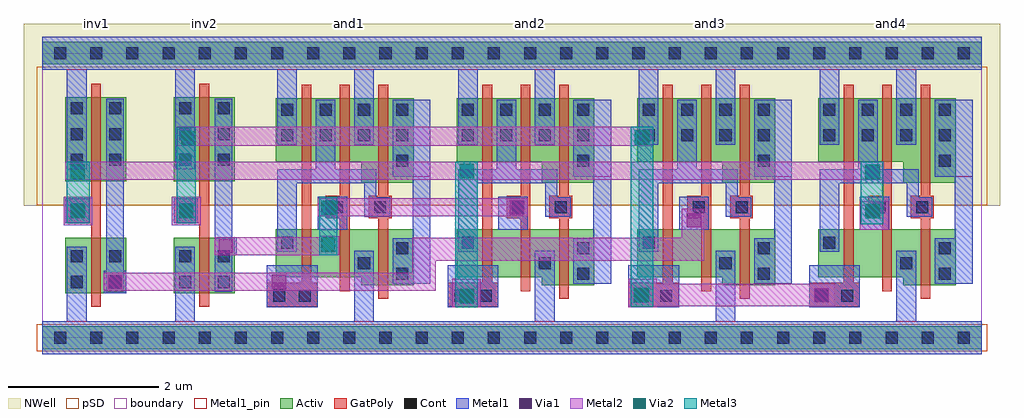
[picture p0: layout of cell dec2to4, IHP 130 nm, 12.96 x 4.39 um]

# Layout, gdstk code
import gdstk
lib = gdstk.Library(unit=1e-6, precision=1e-09)
def R(c, l, rs):  # rectangles x0, y0, x1, y1
    for r in rs: c.add(gdstk.rectangle(r[:2], r[2:], *l))
def A(c, l, x, y, w, h, nx, ny, dx, dy):  # array of equal rectangles
    R(c, l, [(x+i*dx, y+j*dy, x+i*dx+w, y+j*dy+h) for i in range(nx) for j in range(ny)])
def P(c, l, *ps):  # polygons
    for p in ps: c.add(gdstk.Polygon(p, *l))
Activ = (1, 0)
GatPoly = (5, 0)
Cont = (6, 0)
Metal1 = (8, 0)
Metal1_pin = (8, 2)
Metal2 = (10, 0)
pSD = (14, 0)
Via1 = (19, 0)
Via2 = (29, 0)
Metal3 = (30, 0)
NWell = (31, 0)
boundary = (189, 4)

sg13cmos5l_inv_1 = lib.new_cell('sg13cmos5l_inv_1')
R(sg13cmos5l_inv_1, Activ, [(0,-0.15,1.44,0.15), (0.31,0.59,1.12,1.33), (0.31,2.075,1.12,3.195), (0,3.63,1.44,3.93)])
P(sg13cmos5l_inv_1, GatPoly, [(0.65,0.41),(0.65,1.52),(0.31,1.52),(0.31,1.85),(0.65,1.85),(0.65,3.375),(0.78,3.375),(0.78,0.41)])
A(sg13cmos5l_inv_1, Cont, 0.38, 2.285, 0.16, 0.16, 1, 3, 0, 0.34)
A(sg13cmos5l_inv_1, Cont, 0.89, 2.285, 0.16, 0.16, 1, 3, 0, 0.34)
R(sg13cmos5l_inv_1, Cont, [(0.16,-0.08,0.32,0.08), (0.16,-0.08,0.32,0.08), (0.64,-0.08,0.8,0.08), (0.64,-0.08,0.8,0.08), (1.12,-0.08,1.28,0.08), (1.12,-0.08,1.28,0.08), (0.38,0.66,0.54,0.82), (0.89,0.66,1.05,0.82), (0.38,1,0.54,1.16), (0.89,1,1.05,1.16), (0.395,1.605,0.555,1.765), (0.16,3.7,0.32,3.86), (0.16,3.7,0.32,3.86), (0.64,3.7,0.8,3.86), (0.64,3.7,0.8,3.86), (1.12,3.7,1.28,3.86), (1.12,3.7,1.28,3.86)])
R(sg13cmos5l_inv_1, Metal1, [(0.855,0.61,1.085,3.175), (0.31,1.52,0.625,1.85)])
P(sg13cmos5l_inv_1, Metal1, [(0.33,2.235),(0.33,3.56),(0,3.56),(0,4),(1.44,4),(1.44,3.56),(0.59,3.56),(0.59,2.235)],
  [(0,-0.22),(0,0.22),(0.33,0.22),(0.33,1.21),(0.59,1.21),(0.59,0.22),(1.44,0.22),(1.44,-0.22)])
R(sg13cmos5l_inv_1, Metal1_pin, [(0,-0.22,1.44,0.22), (0.855,0.61,1.085,3.175), (0.31,1.52,0.625,1.85), (0,3.56,1.44,4)])
R(sg13cmos5l_inv_1, pSD, [(-0.07,-0.18,1.51,0.18), (-0.07,1.76,1.51,3.6)])
R(sg13cmos5l_inv_1, NWell, [(-0.24,1.75,1.68,4.17)])
R(sg13cmos5l_inv_1, boundary, [(0,0,1.44,3.78)])
sg13cmos5l_inv_1.add(gdstk.Label('Y', (0.98,1.69), layer=8, texttype=25))
sg13cmos5l_inv_1.add(gdstk.Label('A', (0.48,1.68), layer=8, texttype=25))
sg13cmos5l_inv_1.add(gdstk.Label('VSS', (0.72,-0.02), layer=8, texttype=25))
sg13cmos5l_inv_1.add(gdstk.Label('VDD', (0.705,3.78), layer=8, texttype=25))

sg13cmos5l_and2_1 = lib.new_cell('sg13cmos5l_and2_1')
R(sg13cmos5l_and2_1, Activ, [(0,-0.15,2.4,0.15), (0,3.63,2.4,3.93)])
P(sg13cmos5l_and2_1, Activ, [(1.355,0.7),(1.355,0.8),(0.225,0.8),(0.225,1.44),(2.055,1.44),(2.055,0.7)],
  [(1.355,2.06),(1.355,2.34),(0.225,2.34),(0.225,3.18),(2.055,3.18),(2.055,2.06)])
P(sg13cmos5l_and2_1, GatPoly, [(1.585,0.52),(1.585,1.585),(1.455,1.585),(1.455,1.885),(1.585,1.885),(1.585,3.36),(1.715,3.36),(1.715,1.885),(1.76,1.885),(1.76,1.585),(1.715,1.585),(1.715,0.52)],
  [(0.105,0.41),(0.105,0.73),(0.565,0.73),(0.565,3.36),(0.695,3.36),(0.695,0.73),(0.775,0.73),(0.775,0.41)],
  [(1.075,0.62),(1.075,1.585),(0.89,1.585),(0.89,1.885),(1.075,1.885),(1.075,3.36),(1.205,3.36),(1.205,0.62)])
A(sg13cmos5l_and2_1, Cont, 0.16, -0.08, 0.16, 0.16, 5, 1, 0.48, 0)
A(sg13cmos5l_and2_1, Cont, 0.295, 2.61, 0.16, 0.16, 4, 2, 0.51, 0.34)
R(sg13cmos5l_and2_1, Cont, [(0.19,0.48,0.35,0.64), (0.53,0.48,0.69,0.64), (1.825,0.77,1.985,0.93), (1.315,0.91,1.475,1.07), (1.825,1.11,1.985,1.27), (0.295,1.18,0.455,1.34), (0.96,1.655,1.12,1.815), (1.53,1.655,1.69,1.815), (1.825,2.27,1.985,2.43), (0.16,3.7,0.32,3.86), (0.16,3.7,0.32,3.86), (0.16,3.7,0.32,3.86), (0.64,3.7,0.8,3.86), (0.64,3.7,0.8,3.86), (1.12,3.7,1.28,3.86), (1.12,3.7,1.28,3.86), (1.6,3.7,1.76,3.86), (1.6,3.7,1.76,3.86), (2.08,3.7,2.24,3.86), (2.08,3.7,2.24,3.86)])
R(sg13cmos5l_and2_1, Metal1, [(0.105,0.405,0.78,0.96), (0.78,1.435,1.17,1.87)])
P(sg13cmos5l_and2_1, Metal1, [(0.245,1.14),(0.245,2.24),(0.755,2.24),(0.755,3.16),(1.015,3.16),(1.015,2.24),(1.56,2.24),(1.56,1.865),(1.74,1.865),(1.74,1.605),(1.4,1.605),(1.4,2.05),(0.505,2.05),(0.505,1.14)],
  [(1.775,0.72),(1.775,1.32),(2.04,1.32),(2.04,2.14),(1.775,2.14),(1.775,3.16),(2.275,3.16),(2.275,0.72)],
  [(0.245,2.56),(0.245,3.56),(0,3.56),(0,4),(2.4,4),(2.4,3.56),(1.525,3.56),(1.525,2.56),(1.265,2.56),(1.265,3.56),(0.505,3.56),(0.505,2.56)],
  [(0,-0.22),(0,0.22),(1.265,0.22),(1.265,1.155),(1.525,1.155),(1.525,0.22),(2.4,0.22),(2.4,-0.22)])
R(sg13cmos5l_and2_1, Metal1_pin, [(0,-0.22,2.4,0.22), (0.105,0.405,0.78,0.96), (0.78,1.435,1.17,1.87), (1.775,2.14,2.275,3.16), (0,3.56,2.4,4)])
R(sg13cmos5l_and2_1, pSD, [(-0.07,-0.18,2.47,0.18), (-0.07,1.76,0.55,3.6), (-0.07,1.76,2.47,3.6)])
R(sg13cmos5l_and2_1, NWell, [(-0.24,1.75,2.64,4.17)])
R(sg13cmos5l_and2_1, boundary, [(0,0,2.4,3.78)])
sg13cmos5l_and2_1.add(gdstk.Label('X', (1.995,2.68), layer=8, texttype=25))
sg13cmos5l_and2_1.add(gdstk.Label('VSS', (1.18,0), layer=8, texttype=25))
sg13cmos5l_and2_1.add(gdstk.Label('VDD', (1.275,3.78), layer=8, texttype=25))
sg13cmos5l_and2_1.add(gdstk.Label('B', (0.98,1.655), layer=8, texttype=25))
sg13cmos5l_and2_1.add(gdstk.Label('A', (0.465,0.745), layer=8, texttype=25))

dec2to4 = lib.new_cell('dec2to4')
R(dec2to4, Metal1, [(0.82,0.59,1.12,0.89), (2.525,1.095,2.585,1.335)])
R(dec2to4, Metal2, [(5.445,0.405,5.825,0.785), (7.785,0.405,8.165,0.785), (4.915,0.865,5.225,1.025), (10.86,1.435,11.24,1.815), (0.285,1.495,0.665,1.875), (1.725,1.495,2.105,1.875), (3.705,1.63,3.895,1.82)])
P(dec2to4, Metal2, [(2.295,1.095),(2.295,1.335),(3.68,1.335),(3.68,1.345),(3.945,1.345),(3.945,1.095)],
  [(0.625,1.545),(0.625,1.545),(0.625,1.545),(0.625,1.545)],
  [(10.31,1.84),(10.31,1.84),(10.31,1.84),(10.31,1.84)])
R(dec2to4, Via1, [(5.545,0.455,5.735,0.645), (7.865,0.47,8.055,0.66), (10.255,0.47,10.445,0.66), (0.875,0.645,1.065,0.835), (3.05,0.645,3.24,0.835), (2.345,1.12,2.535,1.31), (8.56,1.465,8.75,1.655), (10.93,1.585,11.12,1.775), (0.38,1.59,0.57,1.78), (1.82,1.59,2.01,1.78), (6.21,1.635,6.4,1.825)])
R(dec2to4, Via2, [(5.545,0.455,5.735,0.645), (7.865,0.47,8.055,0.66), (3.705,1.145,3.895,1.335), (10.93,1.585,11.12,1.775), (0.38,1.59,0.57,1.78), (1.82,1.59,2.01,1.78), (3.71,1.63,3.9,1.82), (0.38,2.105,0.57,2.295), (10.93,2.105,11.12,2.295), (5.545,2.12,5.735,2.31), (1.845,2.555,2.035,2.745), (7.87,2.565,8.06,2.755)])
dec2to4.add(gdstk.FlexPath([(0.82,0.745),(5.225,0.745)], 0.24, ends="flush", simple_path=True, layer=10, datatype=0))  # Metal2
dec2to4.add(gdstk.FlexPath([(5.785,2.215),(11.175,2.215)], 0.24, ends="flush", simple_path=True, layer=10, datatype=0))  # Metal2
dec2to4.add(gdstk.FlexPath([(8.165,0.565),(10.535,0.565)], 0.3, ends="flush", simple_path=True, layer=10, datatype=0))  # Metal2
dec2to4.add(gdstk.FlexPath([(4.915,1.175),(8.795,1.175)], 0.3, ends="flush", simple_path=True, layer=10, datatype=0))  # Metal2
dec2to4.add(gdstk.FlexPath([(8.645,1.71),(8.645,1.325)], 0.3, ends="flush", simple_path=True, layer=10, datatype=0))  # Metal2
dec2to4.add(gdstk.FlexPath([(1.795,2.675),(8.115,2.675)], 0.25, ends="flush", simple_path=True, layer=10, datatype=0))  # Metal2
dec2to4.add(gdstk.FlexPath([(0.31,2.215),(5.695,2.215),(5.785,2.215)], 0.24, ends="flush", simple_path=True, layer=10, datatype=0))  # Metal2
dec2to4.add(gdstk.FlexPath([(3.66,1.73),(6.45,1.73)], 0.24, ends="flush", simple_path=True, layer=10, datatype=0))  # Metal2
dec2to4.add(gdstk.FlexPath([(5.635,2.335),(5.635,0.405)], 0.3, ends="flush", simple_path=True, layer=30, datatype=0))  # Metal3
dec2to4.add(gdstk.FlexPath([(0.48,1.52),(0.48,2.335)], 0.3, ends="flush", simple_path=True, layer=30, datatype=0))  # Metal3
dec2to4.add(gdstk.FlexPath([(11.02,2.335),(11.02,1.51)], 0.3, ends="flush", simple_path=True, layer=30, datatype=0))  # Metal3
dec2to4.add(gdstk.FlexPath([(7.965,2.8),(7.965,0.41)], 0.3, ends="flush", simple_path=True, layer=30, datatype=0))  # Metal3
dec2to4.add(gdstk.FlexPath([(3.8,1.095),(3.8,1.87)], 0.24, ends="flush", simple_path=True, layer=30, datatype=0))  # Metal3
dec2to4.add(gdstk.FlexPath([(1.915,1.52),(1.915,2.795)], 0.25, ends="flush", simple_path=True, layer=30, datatype=0))  # Metal3
dec2to4.add(gdstk.Reference(sg13cmos5l_inv_1, (1.44,0)))
dec2to4.add(gdstk.Reference(sg13cmos5l_and2_1, (7.68,0)))
dec2to4.add(gdstk.Reference(sg13cmos5l_and2_1, (2.88,0)))
dec2to4.add(gdstk.Reference(sg13cmos5l_inv_1, (0,0)))
dec2to4.add(gdstk.Reference(sg13cmos5l_and2_1, (10.08,0)))
dec2to4.add(gdstk.Reference(sg13cmos5l_and2_1, (5.28,0)))
dec2to4.add(gdstk.Label('inv1', (0.72,4.17), layer=1, texttype=0))
dec2to4.add(gdstk.Label('inv2', (2.16,4.17), layer=1, texttype=0))
dec2to4.add(gdstk.Label('and1', (4.08,4.17), layer=1, texttype=0))
dec2to4.add(gdstk.Label('and2', (6.48,4.17), layer=1, texttype=0))
dec2to4.add(gdstk.Label('and3', (8.88,4.17), layer=1, texttype=0))
dec2to4.add(gdstk.Label('and4', (11.28,4.17), layer=1, texttype=0))

lib.write_gds('dec2to4.gds')
